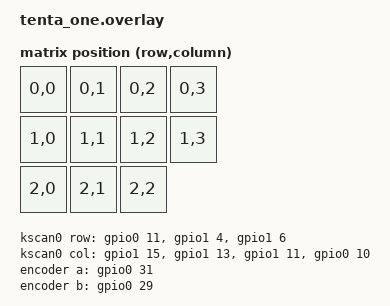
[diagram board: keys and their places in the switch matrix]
#include <dt-bindings/zmk/matrix_transform.h> // Put this with the other includes at the top of your overlay

/ {
    kscan0: kscan0 {
        compatible = "zmk,kscan-gpio-matrix";
        diode-direction = "col2row";
        wakeup-source;

        col-gpios
            = <&gpio1 15 GPIO_ACTIVE_HIGH>
            , <&gpio1 13 GPIO_ACTIVE_HIGH>
            , <&gpio1 11 GPIO_ACTIVE_HIGH>
            , <&gpio0 10 GPIO_ACTIVE_HIGH>
            ;

        row-gpios
            = <&gpio0 11 (GPIO_ACTIVE_HIGH | GPIO_PULL_DOWN)>
            , <&gpio1 4 (GPIO_ACTIVE_HIGH | GPIO_PULL_DOWN)>
            , <&gpio1 6 (GPIO_ACTIVE_HIGH | GPIO_PULL_DOWN)>
            ;
    };

    encoder: encoder {
        compatible = "alps,ec11";
        a-gpios = <&gpio0 31 (GPIO_ACTIVE_HIGH | GPIO_PULL_UP)>;
        b-gpios = <&gpio0 29 (GPIO_ACTIVE_HIGH | GPIO_PULL_UP)>;
        steps = <80>;
        status = "okay";
    };

    sensors: sensors {
        compatible = "zmk,keymap-sensors";
        sensors = <&encoder>;
        triggers-per-rotation = <20>;
    };
};

/ {
    default_transform: keymap_transform0 {
        compatible = "zmk,matrix-transform";
        columns = <4>; // Length of the "col-gpios" array
        rows = <3>; // Length of the "row-gpios" array
        map = <
        //   Key 1 | Key 2 | Key 3 | Key 4
            RC(0,0) RC(0,1) RC(0,2) RC(0,3)
        //   Key 5 | Key 6 | Key 7 | Key 8
            RC(1,0) RC(1,1) RC(1,2) RC(1,3)
        //   Key 9 | Key 10 | Key 11
            RC(2,0) RC(2,1) RC(2,2)
        >;
    };
};

/ {
    default_layout: default_layout {
        compatible = "zmk,physical-layout";
        display-name = "Default Layout";
        transform = <&default_transform>;
        kscan = <&kscan0>;
    };
};

/ {
    chosen {
        zmk,physical-layout = &default_layout;
        // Other chosen items
        // zmk,underglow = &led_strip;
    };
};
